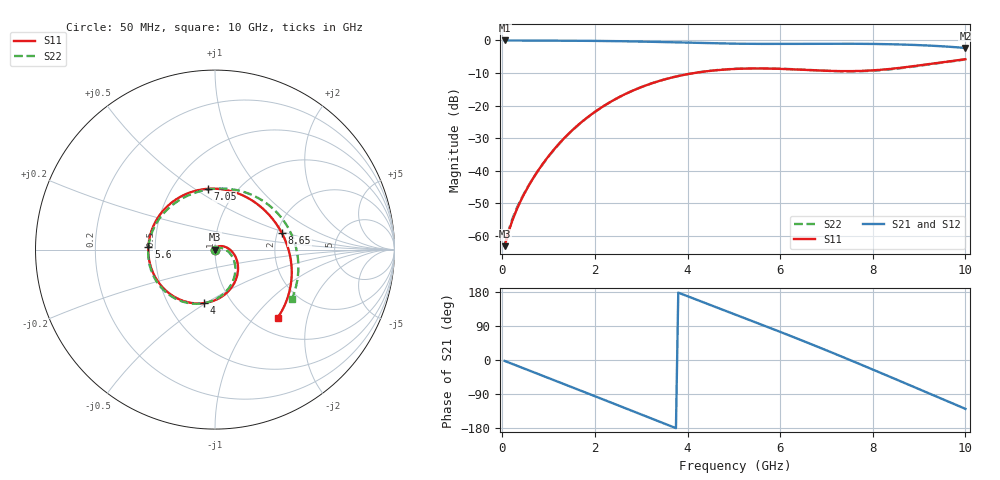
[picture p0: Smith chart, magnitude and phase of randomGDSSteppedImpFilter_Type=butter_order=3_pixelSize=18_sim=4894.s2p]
! freq	dB(S11)	phase(S11)	dB(S12)	phase(S12)
!  dB(S21)	phase(S21)	dB(S22)	phase(S22)
!S-par simulation data
#  GHz  S  DB  R 50
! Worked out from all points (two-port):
!   200 points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, 50 MHz to 10 GHz, reference 50 ohm
!   highest |S21| = 0.00 dB at 50 MHz (marker M1); lowest = -2.3 dB at 10 GHz (marker M2)
!   |S21| within 3 dB of the highest: start of sweep to end of sweep
!   lowest |S11| = -63.1 dB at 50 MHz (marker M3), VSWR 1.00, Z = 50 + j0.0512 ohm
!   |S11| at or under -10 dB: start of sweep to 4.144 GHz
!   |S22| runs from -63.0 to -5.9 dB; largest |S21 - S12| = 0
!   S11 on the Smith chart (normalised r, x): 50 MHz: 1.00, +0.00; 4 GHz: 0.75, -0.49; 5.6 GHz: 0.46, +0.02; 7.05 GHz: 0.74, +0.56; 8.65 GHz: 2.13, +0.45; 10 GHz: 1.29, -1.34
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0.05  -63.14 47.2  -0.00 -2.4  -0.00 -2.4  -63.03 40.5
0.15  -58.12 62.5  -0.01 -7.2  -0.01 -7.2  -57.71 56.5
0.3  -52.31 72.5  -0.03 -14.4  -0.03 -14.4  -51.87 59.8
0.7  -41.53 67.1  -0.04 -33.4  -0.04 -33.4  -41.54 46.1
1.25  -31.31 41.2  -0.07 -59.6  -0.07 -59.6  -31.40 22.1
1.75  -24.61 14.8  -0.11 -83.5  -0.11 -83.5  -24.65 -0.1
2.1  -20.95 -3.6  -0.15 -100.4  -0.15 -100.4  -20.97 -15.9
2.5  -17.57 -24.5  -0.22 -119.7  -0.22 -119.7  -17.58 -34.1
2.95  -14.61 -47.8  -0.33 -141.4  -0.33 -141.4  -14.61 -54.6
3.4  -12.39 -70.8  -0.47 -163.1  -0.47 -163.1  -12.37 -75.0
4  -10.35 -101.2  -0.69 168.3  -0.69 168.3  -10.33 -101.7
4.5  -9.32 -126.3  -0.86 144.8  -0.86 144.8  -9.28 -123.4
5.05  -8.73 -154.1  -1.00 119.1  -1.00 119.1  -8.68 -146.8
5.6  -8.60 177.4  -1.06 93.3  -1.06 93.3  -8.54 -169.9
6.15  -8.80 147.8  -1.06 67.1  -1.06 67.1  -8.74 167.2
6.7  -9.15 116.9  -1.03 40.4  -1.03 40.4  -9.12 143.9
7.05  -9.34 97.0  -1.01 23.0  -1.01 23.0  -9.34 128.6
7.7  -9.37 60.8  -1.03 -9.8  -1.03 -9.8  -9.46 98.2
8.35  -8.78 27.7  -1.15 -43.2  -1.15 -43.2  -8.91 64.1
8.65  -8.31 13.6  -1.26 -58.8  -1.26 -58.8  -8.44 47.1
9.3  -7.06 -15.5  -1.63 -92.5  -1.63 -92.5  -7.17 9.1
10  -5.76 -47.4  -2.33 -128.9  -2.33 -128.9  -5.85 -33.0
